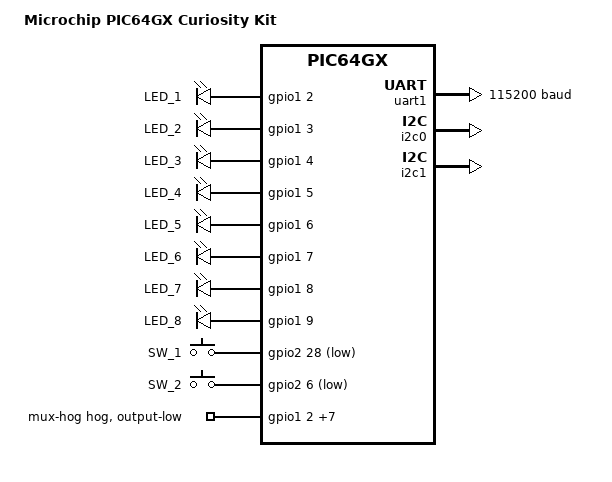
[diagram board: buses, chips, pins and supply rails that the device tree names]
/*
 * Copyright (c) 2024 Microchip Technology Inc
 *
 * SPDX-License-Identifier: Apache-2.0
 */

/dts-v1/;
#include <microchip/pic64gx.dtsi>
#include <zephyr/dt-bindings/input/input-event-codes.h>
#include <mem.h>

/ {
	model = "Microchip PIC64GX Curiosity Kit";
	compatible = "microchip,pic64gx-curiosity-kit", "microchip,pic64gx";
	aliases {
		led0 = &led1;
		sw0 = &sw1;
		i2c0 = &i2c0;
		i2c1 = &i2c1;
	};

	chosen {
		zephyr,console = &uart1;
		zephyr,shell-uart = &uart1;
		zephyr,sram = &sram1;
	};

	leds {
		compatible = "gpio-leds";

		led1: led1 {
			gpios = <&gpio1 2 (GPIO_PULL_DOWN | GPIO_ACTIVE_HIGH)>;
			label = "LED_1";
		};
		led2: led2 {
			gpios = <&gpio1 3 (GPIO_PULL_DOWN | GPIO_ACTIVE_HIGH)>;
			label = "LED_2";
		};
		led3: led3 {
			gpios = <&gpio1 4 (GPIO_PULL_DOWN | GPIO_ACTIVE_HIGH)>;
			label = "LED_3";
		};
		led4: led4 {
			gpios = <&gpio1 5 (GPIO_PULL_DOWN | GPIO_ACTIVE_HIGH)>;
			label = "LED_4";
		};
		led5: led5 {
			gpios = <&gpio1 6 (GPIO_PULL_DOWN | GPIO_ACTIVE_HIGH)>;
			label = "LED_5";
		};
		led6: led6 {
			gpios = <&gpio1 7 (GPIO_PULL_DOWN | GPIO_ACTIVE_HIGH)>;
			label = "LED_6";
		};
		led7: led7 {
			gpios = <&gpio1 8 (GPIO_PULL_DOWN | GPIO_ACTIVE_HIGH)>;
			label = "LED_7";
		};
		led8: led8 {
			gpios = <&gpio1 9 (GPIO_PULL_DOWN | GPIO_ACTIVE_HIGH)>;
			label = "LED_8";
		};
	};

	keys {
		compatible = "gpio-keys";
		sw1: sw1 {
			gpios = <&gpio2 28 GPIO_ACTIVE_LOW>;
			label = "SW_1";
			zephyr,code = <INPUT_KEY_0>;
		};
		sw2: sw2 {
			gpios = <&gpio2 6 GPIO_ACTIVE_LOW>;
			label = "SW_2";
			zephyr,code = <INPUT_KEY_1>;
		};
	};
};

&uart1 {
	status = "okay";
	current-speed = <115200>;
	clock-frequency = <150000000>;
};

&gpio1 {
	status = "okay";
	mux-hog {
		gpio-hog;
		gpios = <2 GPIO_ACTIVE_HIGH>, <3 GPIO_ACTIVE_HIGH>,
				<4 GPIO_ACTIVE_HIGH>, <5 GPIO_ACTIVE_HIGH>,
				<6 GPIO_ACTIVE_HIGH>, <7 GPIO_ACTIVE_HIGH>,
				<8 GPIO_ACTIVE_HIGH>, <9 GPIO_ACTIVE_HIGH>;
		output-low;
	};
};

&gpio2 {
	status = "okay";
};

&i2c0 {
	status = "okay";
};

&i2c1 {
	status = "okay";
};
